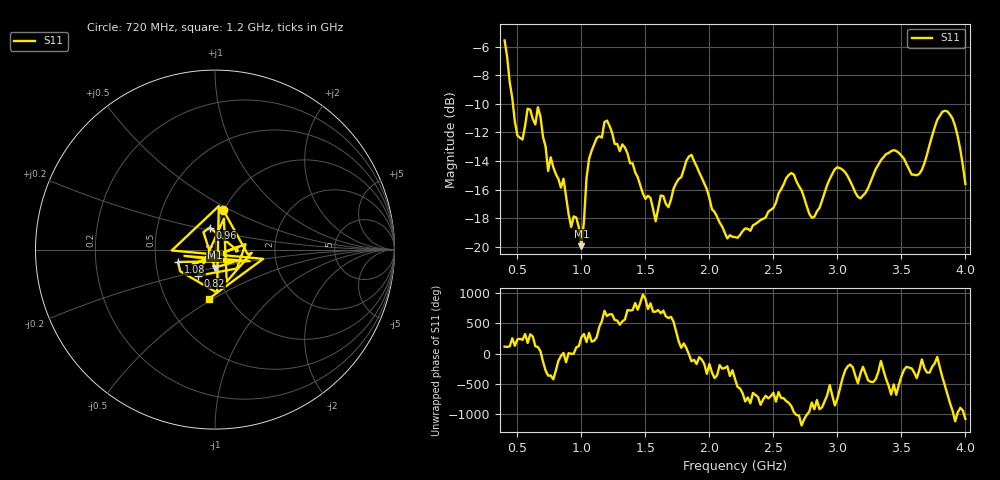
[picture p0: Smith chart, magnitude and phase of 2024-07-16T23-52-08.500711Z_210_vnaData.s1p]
!Created with skrf (http://scikit-rf.org).
# Hz S RI R 50.0
!freq ReS11 ImS11
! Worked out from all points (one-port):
!   181 points, 400 MHz to 4 GHz, reference 50 ohm
!   lowest |S11| = -20.0 dB at 1 GHz (marker M1), VSWR 1.22, Z = 48.9 - j9.91 ohm
!   |S11| at or under -10 dB: 464.8 MHz to end of sweep
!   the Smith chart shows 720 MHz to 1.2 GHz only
!   S11 on the Smith chart (normalised r, x): 720 MHz: 0.99, +0.46; 820 MHz: 0.80, -0.24; 960 MHz: 0.92, +0.23; 1.08 GHz: 0.65, -0.09; 1.2 GHz: 0.81, -0.48
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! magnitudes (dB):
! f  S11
! 400 MHz  -5.6
! 500 MHz  -12.2
! 660 MHz  -10.2
! 720 MHz  -13.0
! 820 MHz  -15.2
! 860 MHz  -15.2
! 920 MHz  -18.6
! 960 MHz  -18.0
! 1 GHz  -20.0
! 1.04 GHz  -15.2
! 1.08 GHz  -13.3
! 1.2 GHz  -11.2
! 1.3 GHz  -13.3
! 1.58 GHz  -18.2
! 1.76 GHz  -15.3
! 1.86 GHz  -13.6
! 2.2 GHz  -19.3
! 2.66 GHz  -15.0
! 2.8 GHz  -18.0
! 2.98 GHz  -14.6
! 3.1 GHz  -15.4
! 3.18 GHz  -16.6
! 3.44 GHz  -13.2
! 3.56 GHz  -14.6
! 3.66 GHz  -14.6
! 3.84 GHz  -10.5
! 3.92 GHz  -11.6
! 4 GHz  -15.6
